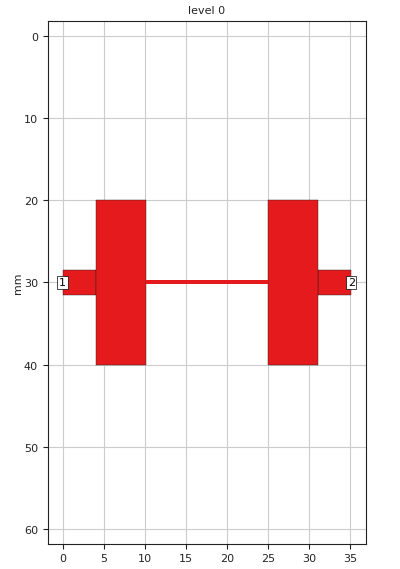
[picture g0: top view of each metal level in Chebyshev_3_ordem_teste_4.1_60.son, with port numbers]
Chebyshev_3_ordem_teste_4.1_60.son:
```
FTYP SONPROJ 13 ! Sonnet Project File
VER 15.53.lite
HEADER
LIC SL290709.106431 847bebfebdba DESKTOP-1CMJ3DP Arihe
DAT 06/10/2019 21:57:21
BUILT_BY_CREATED xgeom 15.53-Lite 04/13/2019 20:59:13
BUILT_BY_SAVED xgeom 15.53-Lite
MDATE 06/10/2019 21:57:21
HDATE 06/10/2019 21:57:21
END HEADER
DIM
FREQ GHZ
RSVY OHMM
IND NH
LNG MM
ANG DEG
CON /OH
CAP PF
RES OH
END DIM
FREQ
ABS 1.0e-9 3.0 
END FREQ
CONTROL
ABS
OPTIONS  -dj 
SPEED 0
CACHE_ABS 1
TARG_ABS 300
Q_ACC N
END CONTROL
GEO
DRP1 LEFT LINK
POLY 12 1
1
DRP1 RIGHT LINK
POLY 14 1
0
TMET "Lossless" 0 SUP 0 0 0 0
BMET "Lossless" 0 SUP 0 0 0 0
MET "Copper" 1 NOR 58000000 0 0.0347 
BOX 1 35.1 60 702 1200 20 0
      20 1 1 0 0 0 0 "Air"
      1.5306 4.1 1 0.02 0 0 0 "FR-4"
LORGN 0 60 U 
POR1 STD
POLY 12 1
3
1 50 0 0 0 -3.549999995e-007 30 
POR1 STD
POLY 14 1
1
2 50 0 0 0 35.09999964 30 
NUM 5
0 5 0 N 12 1 1 100 100 0 0 0 Y
-3.549999995e-007 28.45
3.999999645 28.45
3.999999645 31.55
-3.549999995e-007 31.55
-3.549999995e-007 28.45
END
0 5 0 N 14 1 1 100 100 0 0 0 Y
31.09999964 28.45
35.09999964 28.45
35.09999964 31.55
31.09999964 31.55
31.09999964 28.45
END
0 5 0 N 16 1 1 100 100 0 0 0 Y
3.999999645 20
10.09999965 20
10.09999965 40
3.999999645 40
3.999999645 20
END
0 5 0 N 17 1 1 100 100 0 0 0 Y
24.99999964 20
31.09999965 20
31.09999965 40
24.99999964 40
24.99999964 20
END
0 5 0 N 18 1 1 100 100 0 0 0 Y
10.09999964 29.75
24.99999964 29.75
24.99999964 30.25
10.09999964 30.25
10.09999964 29.75
END
END GEO
OPT
MAX 100
VARS
END
END OPT
VARSWP
END VARSWP
QSG
IMPORT NO
EXTRA_METAL NO
UNITS YES
ALIGN NO
REF NO
VIEW_RES NO
METALS YES
USED YES
END QSG
```
